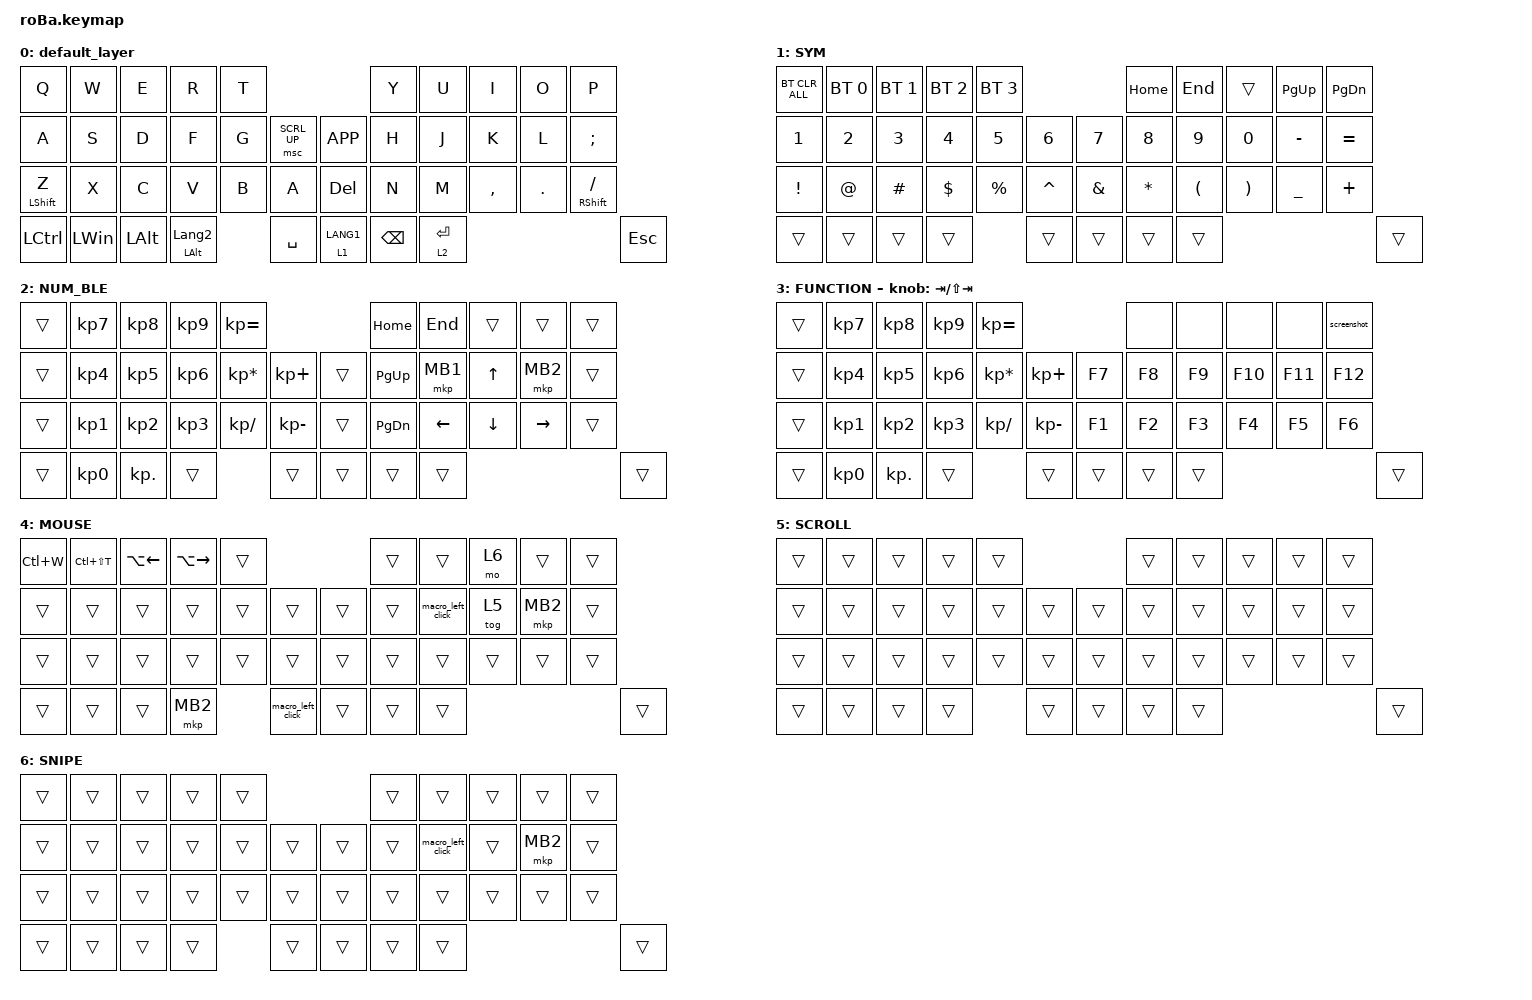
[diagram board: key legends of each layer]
#include <behaviors.dtsi>
#include <dt-bindings/zmk/bt.h>
#include <dt-bindings/zmk/keys.h>
#include <dt-bindings/zmk/pointing.h>

#define MOUSE 4
#define SCROLL 5
#define SNIPE 6

/* ホールドタップの基本設定 */
&mt {
    flavor = "balanced";
    quick-tap-ms = <0>;
    tapping-term-ms = <300>;
};

&sl { release-after-ms = <180>; };

/ {
    combos {
        compatible = "zmk,combos";

        op {
            bindings = <&kp MINUS>;
            key-positions = <9 8>;
        };

        single_quote {
            bindings = <&kp SINGLE_QUOTE>;
            key-positions = <21 20>;
        };

        backslash {
            bindings = <&kp BACKSLASH>;
            key-positions = <32 33>;
        };

        grave {
            bindings = <&kp GRAVE>;
            key-positions = <0 1>;
        };

        tab {
            bindings = <&kp TAB>;
            key-positions = <11 10>;
        };

        caps {
            bindings = <&kp CAPSLOCK>;
            key-positions = <35 36>;
        };

        brackets {
            bindings = <&brackets>;
            key-positions = <7 6>;
        };

        braces {
            bindings = <&braces>;
            key-positions = <19 18>;
        };

        parenthesis {
            bindings = <&parenthesis>;
            key-positions = <31 30>;
        };
    };

    macros {
        to_layer_0: to_layer_0 {
            compatible = "zmk,behavior-macro-one-param";
            #binding-cells = <1>;
            bindings = <&to 0 &macro_param_1to1 &kp MACRO_PLACEHOLDER>;
            label = "TO_LAYER_0";
        };

        brackets: brackets {
            compatible = "zmk,behavior-macro";
            #binding-cells = <0>;
            bindings = <&kp LEFT_BRACKET &kp RIGHT_BRACKET &kp LEFT>;
            label = "BRACKETS";
        };

        braces: braces {
            compatible = "zmk,behavior-macro";
            #binding-cells = <0>;
            bindings = <&kp LEFT_BRACE &kp RIGHT_BRACE &kp LEFT>;
            label = "BRACES";
        };

        parenthesis: parthens {
            compatible = "zmk,behavior-macro";
            #binding-cells = <0>;
            bindings = <&kp LEFT_PARENTHESIS &kp RIGHT_PARENTHESIS &kp LEFT>;
            label = "PARTHENS";
        };

        lgts: lgts {
            compatible = "zmk,behavior-macro";
            #binding-cells = <0>;
            bindings = <&kp LESS_THAN &kp GREATER_THAN &kp LEFT>;
            label = "LGTS";
        };

        cmd_space: cmd_space {
            compatible = "zmk,behavior-macro";
            #binding-cells = <0>;
            bindings = <&kp LG(SPACE)>;
            label = "CMD_SPACE";
        };

        bracket: bracket {
            compatible = "zmk,behavior-macro";
            #binding-cells = <0>;
            bindings = <&kp LANG2 &kp LEFT_BRACKET>;
            label = "BRACKET";
        };

        screenshot: screenshot {
            compatible = "zmk,behavior-macro";
            #binding-cells = <0>;
            bindings = <&kp LS(LG(NUMBER_4))>;
            label = "SCREENSHOT";
        };

        macro_left_click: macro_left_click {
            compatible = "zmk,behavior-macro";
            #binding-cells = <0>;
            bindings =
                <&macro_press>,
                <&mkp LCLK>,
                <&macro_pause_for_release>,
                <&macro_release>,
                <&mkp LCLK>,
                <&macro_tap>,
                <&tog_off 4 &sl 4>;

            label = "MACRO_LEFT_CLICK";
        };
    };

    behaviors {
        lt_to_layer_0: lt_to_layer_0 {
            compatible = "zmk,behavior-hold-tap";
            label = "LAYER_TAP_TO_0";
            bindings = <&mo>, <&to_layer_0>;

            #binding-cells = <2>;
            tapping-term-ms = <300>;
        };

        tog_off: toggle_layer_off_only {
            compatible = "zmk,behavior-toggle-layer";
            #binding-cells = <1>;
            display-name = "Toggle Layer Off";
            toggle-mode = "off";
        };

        /* 新設：長押しするとAltをホールドし、タップすると無効になる挙動 */
        alt_holder: alt_holder {
            compatible = "zmk,behavior-hold-tap";
            label = "ALT_HOLDER";
            #binding-cells = <2>;
            flavor = "hold-preferred";
            tapping-term-ms = <200>;
            bindings = <&kp>, <&none>;
        };
    };

    keymap {
        compatible = "zmk,keymap";

        default_layer {
            bindings = <
&kp Q             &kp W     &kp E         &kp R             &kp T                                       &kp Y        &kp U  &kp I      &kp O       &kp P
&kp A             &kp S     &kp D         &kp F             &kp G      &msc SCRL_UP      &kp K_APP      &kp H        &kp J  &kp K      &kp L       &kp SEMICOLON
&mt LEFT_SHIFT Z  &kp X     &kp C         &kp V             &kp B      &kp A             &kp DEL        &kp N        &kp M  &kp COMMA  &kp PERIOD  &mt RIGHT_SHIFT SLASH
&kp LEFT_CONTROL  &kp LWIN  &kp LEFT_ALT  &alt_holder LALT LANGUAGE_2  &kp SPACE  &lt 1 LANG1       &kp BACKSPACE  &lt 2 ENTER                                &kp ESC
            >;
        };

        SYM {
            bindings = <
&bt BT_CLR_ALL   &bt BT_SEL 0  &bt BT_SEL 1  &bt BT_SEL 2  &bt BT_SEL 3                                   &kp HOME      &kp END               &trans                 &kp PAGE_UP     &kp PAGE_DOWN
&kp NUMBER_1     &kp NUMBER_2  &kp NUMBER_3  &kp NUMBER_4  &kp NUMBER_5  &kp NUMBER_6      &kp NUMBER_7   &kp NUMBER_8  &kp NUMBER_9          &kp NUMBER_0           &kp MINUS       &kp EQUAL
&kp EXCLAMATION  &kp AT_SIGN   &kp HASH      &kp DOLLAR    &kp PERCENT   &kp CARET         &kp AMPERSAND  &kp ASTERISK  &kp LEFT_PARENTHESIS  &kp RIGHT_PARENTHESIS  &kp UNDERSCORE  &kp PLUS
&trans           &trans        &trans        &trans        &trans        &trans            &trans         &trans                                                                     &trans
            >;
        };

        NUM_BLE {
            bindings = <
&trans  &kp KP_NUMBER_7  &kp KP_NUMBER_8  &kp KP_NUMBER_9  &kp KP_EQUAL                               &kp HOME       &kp END   &trans    &trans     &trans
&trans  &kp KP_NUMBER_4  &kp KP_NUMBER_5  &kp KP_NUMBER_6  &kp KP_MULTIPLY  &kp KP_PLUS       &trans  &kp PAGE_UP    &mkp MB1  &kp UP    &mkp MB2   &trans
&trans  &kp KP_NUMBER_1  &kp KP_NUMBER_2  &kp KP_NUMBER_3  &kp KP_SLASH     &kp KP_MINUS      &trans  &kp PAGE_DOWN  &kp LEFT  &kp DOWN  &kp RIGHT  &trans
&trans  &kp KP_NUMBER_0  &kp KP_DOT       &trans           &trans           &trans            &trans  &trans                                        &trans
            >;
        };

        /* 画面切り替えレイヤー（旧FUNCTION） */
        FUNCTION {
            bindings = <
&trans  &kp KP_NUMBER_7  &kp KP_NUMBER_8  &kp KP_NUMBER_9  &kp KP_EQUAL                               &none   &none   &none    &none    &screenshot
&trans  &kp KP_NUMBER_4  &kp KP_NUMBER_5  &kp KP_NUMBER_6  &kp KP_MULTIPLY  &kp KP_PLUS       &kp F7  &kp F8  &kp F9  &kp F10  &kp F11  &kp F12
&trans  &kp KP_NUMBER_1  &kp KP_NUMBER_2  &kp KP_NUMBER_3  &kp KP_SLASH     &kp KP_MINUS      &kp F1  &kp F2  &kp F3  &kp F4   &kp F5   &kp F6
&trans  &kp KP_NUMBER_0  &kp KP_DOT       &trans           &trans           &trans            &trans  &trans                            &trans
            >;

            /* エンコーダーを回すと単体のTab / Shift+Tabが連打される純粋な設定 */
            sensor-bindings = <&inc_dec_kp TAB LS(TAB)>;
        };

        MOUSE {
            bindings = <
&kp LC(W)  &kp LC(LS(T))  &kp LA(LEFT)  &kp LA(RIGHT)  &trans                                     &trans  &trans             &mo 6   &trans    &trans
&trans     &trans         &trans        &trans         &trans         &trans      &trans          &trans  &macro_left_click  &tog 5  &mkp MB2  &trans
&trans     &trans         &trans        &trans         &trans         &trans      &trans          &trans  &trans             &trans  &trans    &trans
&trans     &trans         &trans        &mkp MB2       &macro_left_click &trans   &trans          &trans                                       &trans
            >;
        };

        SCROLL {
            bindings = <
&trans  &trans  &trans  &trans  &trans                      &trans  &trans  &trans  &trans  &trans
&trans  &trans  &trans  &trans  &trans  &trans      &trans  &trans  &trans  &trans  &trans  &trans
&trans  &trans  &trans  &trans  &trans  &trans      &trans  &trans  &trans  &trans  &trans  &trans
&trans  &trans  &trans  &trans  &trans  &trans      &trans  &trans                          &trans
            >;
        };

        SNIPE {
            bindings = <
&trans  &trans  &trans  &trans  &trans                      &trans  &trans             &trans  &trans    &trans
&trans  &trans  &trans  &trans  &trans  &trans      &trans  &trans  &macro_left_click  &trans  &mkp MB2  &trans
&trans  &trans  &trans  &trans  &trans  &trans      &trans  &trans  &trans             &trans  &trans    &trans
&trans  &trans  &trans  &trans  &trans  &trans      &trans  &trans                                       &trans
            >;
        };
    };
};
